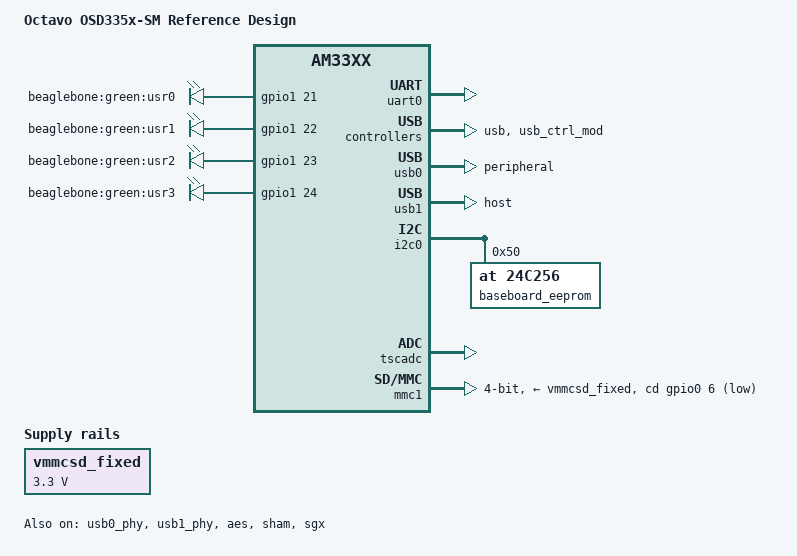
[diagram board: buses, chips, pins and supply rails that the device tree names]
//#SPDX-License-Identifier: GPL-2.0
/* Copyright (C) 2018 Octavo Systems LLC - http://www.octavosystems.com/
 *
 * This program is free software; you can redistribute it and/or modify
 * it under the terms of the GNU General Public License version 2 as
 * published by the Free Software Foundation.
 */

 /dts-v1/;

 #include "osd335x-sm.dtsi"

/ {

  model = "Octavo OSD335x-SM Reference Design";
  compatible = "oct,osd335x-reference-design", "ti,am335x-bone", "ti,am33xx";


	leds {
		pinctrl-names = "default", "sleep";
		pinctrl-0 = <&user_leds_default>;
		pinctrl-1 = <&user_leds_sleep>;

		compatible = "gpio-leds";

		led@2 {
			label = "beaglebone:green:usr0";
			gpios = <&gpio1 21 GPIO_ACTIVE_HIGH>;
			linux,default-trigger = "heartbeat";
			default-state = "off";
		};

		led@3 {
			label = "beaglebone:green:usr1";
			gpios = <&gpio1 22 GPIO_ACTIVE_HIGH>;
			linux,default-trigger = "mmc0";
			default-state = "off";
		};

		led@4 {
			label = "beaglebone:green:usr2";
			gpios = <&gpio1 23 GPIO_ACTIVE_HIGH>;
			linux,default-trigger = "cpu0";
			default-state = "off";
		};

		led@5 {
			label = "beaglebone:green:usr3";
			gpios = <&gpio1 24 GPIO_ACTIVE_HIGH>;
			linux,default-trigger = "mmc1";
			default-state = "off";
		};
	};

	vmmcsd_fixed: fixedregulator@0 {
		compatible = "regulator-fixed";
		regulator-name = "vmmcsd_fixed";
		regulator-min-microvolt = <3300000>;
		regulator-max-microvolt = <3300000>;
	};
};

&am33xx_pinmux {
	user_leds_default: user_leds_default {
		pinctrl-single,pins = <
			AM33XX_IOPAD(0x854, PIN_OUTPUT_PULLDOWN | MUX_MODE7)	 /* gpmc_a5.gpio1_21 */
			AM33XX_IOPAD(0x858, PIN_OUTPUT_PULLUP | MUX_MODE7)	 /* gpmc_a6.gpio1_22 */
			AM33XX_IOPAD(0x85c, PIN_OUTPUT_PULLDOWN | MUX_MODE7)	 /* gpmc_a7.gpio1_23 */
			AM33XX_IOPAD(0x860, PIN_OUTPUT_PULLUP | MUX_MODE7)	 /* gpmc_a8.gpio1_24 */
			//Los siguientes pines son para la configuración de los GPIOs de la TFG Board
			AM33XX_IOPAD(0x09AC, PIN_OUTPUT_PULLDOWN | MUX_MODE7 )  /*mcasp0_ahclkx gpio2[21]*/
        		AM33XX_IOPAD(0x0990, PIN_OUTPUT_PULLDOWN | MUX_MODE7 )  /*mcasp0_aclkx gpio3[14]*/
        		AM33XX_IOPAD(0x09A0, PIN_OUTPUT_PULLDOWN | MUX_MODE7 )  /*mcasp0_aclkr gpio3[18]*/
        		AM33XX_IOPAD(0x09A4, PIN_OUTPUT_PULLDOWN | MUX_MODE7 )  /*mcasp0_fsr gpio3[19]*/
			AM33XX_IOPAD(0x0824, PIN_OUTPUT_PULLDOWN | MUX_MODE7 )  /*gpmc_ad9 gpio0[23]*/
  			AM33XX_IOPAD(0x0834, PIN_OUTPUT_PULLDOWN | MUX_MODE7 )  /*gpmc_ad13 gpio1[13]*/
  			AM33XX_IOPAD(0x0830, PIN_OUTPUT_PULLDOWN | MUX_MODE7 )  /*gpmc_ad12 gpio1[12]*/
  			AM33XX_IOPAD(0x0820, PIN_OUTPUT_PULLDOWN | MUX_MODE7 )  /*gpmc_ad8  gpio1[12]*/
        		AM33XX_IOPAD(0x0840, PIN_OUTPUT_PULLDOWN | MUX_MODE7 )  /*gpmc_a0 gpio1[16]*/
  			AM33XX_IOPAD(0x084C, PIN_OUTPUT_PULLDOWN | MUX_MODE7 )  /*gpmc_a3 gpio1[19]*/
  			AM33XX_IOPAD(0x0848, PIN_OUTPUT_PULLDOWN | MUX_MODE7 )  /*gpmc_a0 (user led) gpio1[18]*/
  			AM33XX_IOPAD(0x0864, PIN_INPUT_PULLUP | MUX_MODE7 )     /*gpmc_a9 (button 1) gpio1[25]*/
  			AM33XX_IOPAD(0x086C, PIN_INPUT_PULLUP | MUX_MODE7 )     /*gpmc_a11 (button 2) gpio1[27]*/
		>;
	};

	user_leds_sleep: user_leds_sleep {
		pinctrl-single,pins = <
			AM33XX_IOPAD(0x854, PIN_INPUT_PULLDOWN | MUX_MODE7)	/* gpmc_a5.gpio1_21 */
			AM33XX_IOPAD(0x858, PIN_INPUT_PULLDOWN | MUX_MODE7)	/* gpmc_a6.gpio1_22 */
			AM33XX_IOPAD(0x85c, PIN_INPUT_PULLDOWN | MUX_MODE7)	/* gpmc_a7.gpio1_23 */
			AM33XX_IOPAD(0x860, PIN_INPUT_PULLDOWN | MUX_MODE7)	/* gpmc_a8.gpio1_24 */
		>;
	};
	
	i2c0_pins: pinmux_i2c0_pins {
		pinctrl-single,pins = <
			AM33XX_IOPAD(0x988, PIN_INPUT_PULLUP | MUX_MODE0)	/* i2c0_sda.i2c0_sda */
			AM33XX_IOPAD(0x98c, PIN_INPUT_PULLUP | MUX_MODE0)	/* i2c0_scl.i2c0_scl */
		>;
	};

	uart0_pins: pinmux_uart0_pins {
		pinctrl-single,pins = <
			AM33XX_IOPAD(0x970, PIN_INPUT_PULLUP | MUX_MODE0)	/* uart0_rxd.uart0_rxd */
			AM33XX_IOPAD(0x974, PIN_OUTPUT_PULLDOWN | MUX_MODE0)	/* uart0_txd.uart0_txd */
		>;
	};


	mmc1_pins: pinmux_mmc1_pins {
		pinctrl-single,pins = <
			AM33XX_IOPAD(0x960, PIN_INPUT | MUX_MODE7) /* GPIO0_6 */
		>;
	};

	emmc_pins: pinmux_emmc_pins {
		pinctrl-single,pins = <
			AM33XX_IOPAD(0x880, PIN_INPUT_PULLUP | MUX_MODE2) /* gpmc_csn1.mmc1_clk */
			AM33XX_IOPAD(0x884, PIN_INPUT_PULLUP | MUX_MODE2) /* gpmc_csn2.mmc1_cmd */
			AM33XX_IOPAD(0x800, PIN_INPUT_PULLUP | MUX_MODE1) /* gpmc_ad0.mmc1_dat0 */
			AM33XX_IOPAD(0x804, PIN_INPUT_PULLUP | MUX_MODE1) /* gpmc_ad1.mmc1_dat1 */
			AM33XX_IOPAD(0x808, PIN_INPUT_PULLUP | MUX_MODE1) /* gpmc_ad2.mmc1_dat2 */
			AM33XX_IOPAD(0x80c, PIN_INPUT_PULLUP | MUX_MODE1) /* gpmc_ad3.mmc1_dat3 */
			AM33XX_IOPAD(0x810, PIN_INPUT_PULLUP | MUX_MODE1) /* gpmc_ad4.mmc1_dat4 */
			AM33XX_IOPAD(0x814, PIN_INPUT_PULLUP | MUX_MODE1) /* gpmc_ad5.mmc1_dat5 */
			AM33XX_IOPAD(0x818, PIN_INPUT_PULLUP | MUX_MODE1) /* gpmc_ad6.mmc1_dat6 */
			AM33XX_IOPAD(0x81c, PIN_INPUT_PULLUP | MUX_MODE1) /* gpmc_ad7.mmc1_dat7 */
		>;
	};
};

&uart0 {
	pinctrl-names = "default";
	pinctrl-0 = <&uart0_pins>;

	status = "okay";
};

&usb {
	status = "okay";
};

&usb_ctrl_mod {
	status = "okay";
};

&usb0_phy {
	status = "okay";
};

&usb1_phy {
	status = "okay";
};

&usb0 {
	status = "okay";
	dr_mode = "peripheral";
};

&usb1 {
	status = "okay";
	dr_mode = "host";
};

&cppi41dma  {
	status = "okay";
};

&i2c0 {
	baseboard_eeprom: baseboard_eeprom@50 {
		compatible = "at,24c256";
		reg = <0x50>;

		#address-cells = <1>;
		#size-cells = <1>;
		baseboard_data: baseboard_data@0 {
			reg = <0 0x100>;
		};
	};
};

&tscadc {
	status = "okay";
};

&am335x_adc {
	ti,adc-channels = <0 1 2 3 4 5 6 7>;
};

&mmc1 {
	status = "okay";
	bus-width = <0x4>;
	pinctrl-names = "default";
	pinctrl-0 = <&mmc1_pins>;
	cd-gpios = <&gpio0 6 GPIO_ACTIVE_LOW>;
  vmmc-supply = <&vmmcsd_fixed>;
};

&aes {
	status = "okay";
};

&sham {
	status = "okay";
};

&wkup_m3_ipc {
	ti,scale-data-fw = "am335x-bone-scale-data.bin";
};

&rtc {
	clocks = <&clk_32768_ck>, <&clkdiv32k_ick>;
	clock-names = "ext-clk", "int-clk";
	system-power-controller;
};

&sgx {
	status = "okay";
};


&cpu0_opp_table {
	/*
	 * All PG 2.0 silicon may not support 1GHz but some of the early
	 * BeagleBone Blacks have PG 2.0 silicon which is guaranteed
	 * to support 1GHz OPP so enable it for PG 2.0 on this board.
	 */
	oppnitro@1000000000 {
		opp-supported-hw = <0x06 0x0100>;
	};
};
